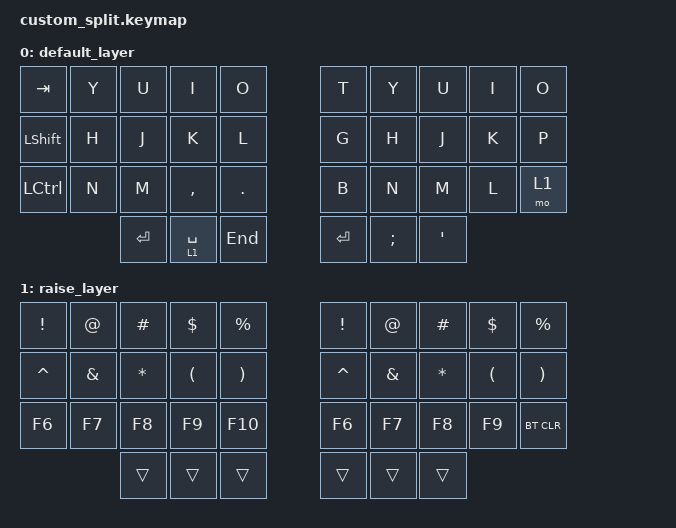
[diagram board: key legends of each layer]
#include <behaviors.dtsi>
#include <dt-bindings/zmk/keys.h>
#include <dt-bindings/zmk/bt.h>

/ {
    keymap {
        compatible = "zmk,keymap";

        default_layer {
            bindings = <
                &kp TAB   &kp Y &kp U &kp I &kp O          &kp T &kp Y &kp U &kp I &kp O
                &kp LSHFT &kp H &kp J &kp K &kp L          &kp G &kp H &kp J &kp K &kp P
                &kp LCTRL &kp N &kp M &kp COMMA &kp DOT    &kp B &kp N &kp M &kp L &mo 1
                         &kp ENTER &lt 1 SPACE &kp END    &kp ENTER &kp SEMI &kp SQT
            >;
        };

        raise_layer {
            bindings = <
                &kp EXCL  &kp AT   &kp HASH &kp DLLR &kp PRCNT     &kp EXCL &kp AT &kp HASH &kp DLLR &kp PRCNT
                &kp CARET &kp AMPS &kp STAR &kp LPAR &kp RPAR      &kp CARET &kp AMPS &kp STAR &kp LPAR &kp RPAR
                &kp F6    &kp F7   &kp F8   &kp F9   &kp F10       &kp F6   &kp F7 &kp F8   &kp F9   &bt BT_CLR
                                   &trans   &trans   &trans        &trans   &trans &trans
            >;
        };
    };
};
